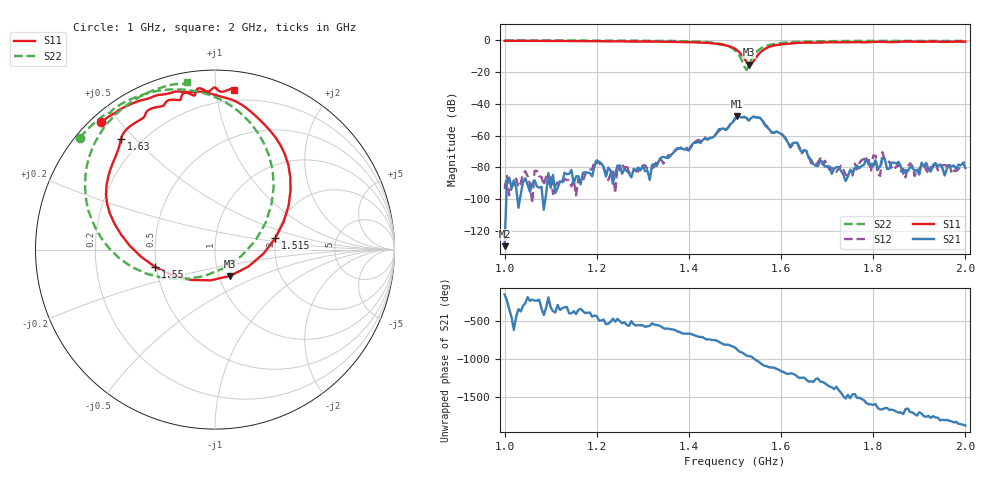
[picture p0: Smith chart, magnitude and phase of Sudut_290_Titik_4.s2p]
# Hz S RI R 50
! CMT, C1220, 16058040, 17.2.0/1
! Date: 14/08/2018 12:33:07
! Data: Format (Calibration Info)
! Freq  S11: Re/Im (F2)  S21: Re/Im (F2)  S12: Re/Im (F2)  S22: Re/Im (F2)
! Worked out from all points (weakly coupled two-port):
!   201 points, 1 GHz to 2 GHz, reference 50 ohm
!   highest |S21| = -47.60 dB at 1.505 GHz (marker M1); lowest = -129.5 dB at 1 GHz (marker M2)
!   lowest |S11| = -15.4 dB at 1.53 GHz (marker M3), VSWR 1.41, Z = 56.6 - j17 ohm
!   |S11| at or under -10 dB: 1.517 GHz to 1.548 GHz (31.29 MHz wide, 2.04 % of centre)
!   |S22| runs from -18.8 to -0.2 dB; largest |S21 - S12| = 0.00024
!   S11 on the Smith chart (normalised r, x): 1 GHz: 0.03, +0.45; 1.515 GHz: 1.98, +0.28; 1.55 GHz: 0.49, -0.11; 1.63 GHz: 0.13, +0.46; 2 GHz: 0.12, +1.12
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1e9  -0.6334 0.7082  -2.94e-07 -1.6e-07  1.12e-05 1.8e-05  -0.7533 0.6236
1.17e9  -0.4563 0.8155  6.65e-05 -1.24e-05  1.88e-05 -3.23e-05  -0.6173 0.749
1.195e9  -0.4185 0.8305  3.92e-05 -0.000101  0.000101 -0.000129  -0.5883 0.762
1.32e9  -0.2133 0.8814  -0.000118 -1.69e-05  -9.34e-05 -7.44e-06  -0.4308 0.8535
1.335e9  -0.1921 0.88  -0.000153 5.55e-05  -0.000167 8.29e-05  -0.4022 0.8634
1.45e9  0.1933 0.7736  0.000723 -0.000453  0.000718 -0.000534  0.0209 0.8403
1.5e9  0.4209 0.329  -0.00231 -0.00263  -0.00215 -0.00252  0.3269 0.3478
1.505e9  0.41 0.2443  -0.0039 -0.00146  -0.00369 -0.00157  0.3142 0.2504
1.515e9  0.3357 0.0625  -0.00353 0.00106  -0.00359 0.000996  0.225 0.0498
1.53e9  0.0851 -0.1463  -0.00128 0.00268  -0.00131 0.00263  -0.0592 -0.1476
1.55e9  -0.3318 -0.0978  0.00243 0.00275  0.00239 0.00286  -0.4644 -0.0965
1.62e9  -0.5342 0.573  -0.000175 -0.000417  -0.000172 -0.000384  -0.7066 0.4969
1.63e9  -0.5241 0.6157  -0.000381 -0.000461  -0.000391 -0.000491  -0.6919 0.5421
1.67e9  -0.4058 0.73  -8.91e-05 9.05e-05  -9.82e-05 8.57e-05  -0.6252 0.6699
1.77e9  -0.2173 0.834  2.43e-05 -9.11e-05  -1.01e-05 -0.000137  -0.47 0.8204
1.785e9  -0.1914 0.8353  -0.000157 -0.000113  -0.000162 -0.000112  -0.4476 0.8342
1.795e9  -0.1876 0.85  -0.00012 -3.99e-05  -7.17e-05 -2.13e-05  -0.4335 0.8426
1.805e9  -0.1807 0.8674  -0.000154 -6.69e-05  -0.000233 -3.76e-05  -0.4196 0.8512
1.815e9  -0.1644 0.8741  -7.21e-05 8.02e-05  -7.44e-06 5.39e-05  -0.4058 0.8586
1.82e9  -0.1535 0.8724  -0.00013 0.000144  -0.000297 3.86e-05  -0.3989 0.8617
1.835e9  -0.1211 0.8592  -5.2e-05 7.54e-05  -0.00012 8.96e-05  -0.3789 0.8719
2e9  0.1066 0.8917  1.59e-05 -9.46e-05  -7.4e-06 -0.000143  -0.1555 0.9312
